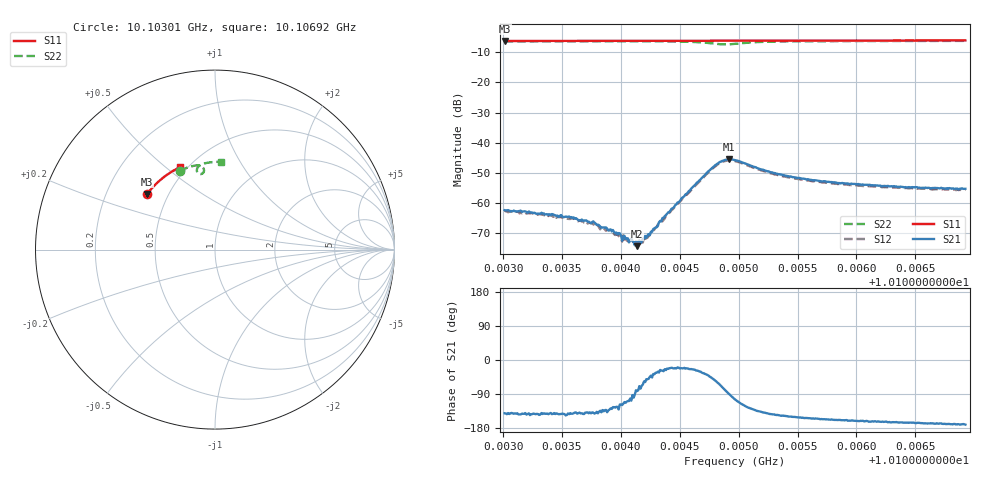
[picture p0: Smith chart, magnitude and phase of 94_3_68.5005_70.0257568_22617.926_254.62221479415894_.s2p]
#  HZ  S  RI  R  50.00
! Rohde & Schwarz Vector Network Analyzer
! Rohde-Schwarz,ZNB20-2Port,1311601062101988,3.16
! Created: UTC 3/20/2024, 4:52:47 PM
! freq[Hz]  re:S11  im:S11  re:S21  im:S21  re:S12  im:S12  re:S22  im:S22
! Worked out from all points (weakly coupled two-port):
!   401 points, 10.10301 GHz to 10.10692 GHz, reference 50 ohm
!   highest |S21| = -45.51 dB at 10.10492 GHz (marker M1); lowest = -74.4 dB at 10.10414 GHz (marker M2)
!   lowest |S11| = -6.2 dB at 10.10301 GHz (marker M3), VSWR 2.91, Z = 19.1 + j15.6 ohm
!   |S11| at or under -10 dB: nowhere
!   |S22| runs from -7.4 to -6.2 dB; largest |S21 - S12| = 0.00054
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1.0103013e10  -0.3771 0.3101  -0.000585 -0.000482  -0.000538 -0.000524  -0.1973 0.4385
1.0103414e10  -0.3623 0.3295  -0.000521 -0.000394  -0.00045 -0.000446  -0.1727 0.4498
1.010358e10  -0.3555 0.3372  -0.000456 -0.00036  -0.000392 -0.000401  -0.1621 0.4541
1.0103668e10  -0.352 0.3414  -0.000411 -0.000337  -0.000355 -0.000341  -0.1563 0.4563
1.0103776e10  -0.3477 0.346  -0.000369 -0.000295  -0.000304 -0.000299  -0.1492 0.4588
1.0103913e10  -0.3421 0.3522  -0.000224 -0.000288  -0.000185 -0.000292  -0.1397 0.4619
1.0103991e10  -0.3386 0.3557  -0.000143 -0.000278  -0.000111 -0.000246  -0.134 0.4634
1.0104118e10  -0.3334 0.3612  -4.18e-06 -0.000197  -4.46e-06 -0.00022  -0.1246 0.4659
1.0104138e10  -0.3325 0.3619  2.66e-05 -0.00019  4.95e-05 -0.000211  -0.1231 0.4661
1.0104167e10  -0.3313 0.3632  5.28e-05 -0.000206  0.000121 -0.000184  -0.1208 0.4666
1.0104226e10  -0.3287 0.3658  0.000182 -0.000223  0.000181 -0.000192  -0.1161 0.4675
1.0104324e10  -0.3245 0.3699  0.000401 -0.00026  0.000405 -0.000173  -0.1075 0.4687
1.0104372e10  -0.3223 0.372  0.000549 -0.000249  0.000514 -0.000202  -0.1031 0.4691
1.0104529e10  -0.3153 0.3786  0.00115 -0.000466  0.00117 -0.000351  -0.0869 0.4678
1.0104754e10  -0.3048 0.3875  0.00251 -0.00242  0.00264 -0.00208  -0.0616 0.4462
1.0104842e10  -0.3008 0.3907  0.00197 -0.00438  0.00225 -0.004  -0.0669 0.4265
1.010492e10  -0.2973 0.3935  -3.42e-05 -0.0053  0.000447 -0.00507  -0.0863 0.4214
1.0104969e10  -0.2953 0.3955  -0.00124 -0.00499  -0.000768 -0.00489  -0.0964 0.4279
1.0105292e10  -0.2799 0.4077  -0.00254 -0.00188  -0.00227 -0.00202  -0.084 0.4693
1.0105624e10  -0.2635 0.4195  -0.00215 -0.00104  -0.00197 -0.00117  -0.0569 0.4804
1.0106279e10  -0.2298 0.4407  -0.0018 -0.000534  -0.0017 -0.00066  -0.0104 0.4879
1.0106925e10  -0.1951 0.4586  -0.0017 -0.000284  -0.0016 -0.00043  0.0328 0.4891
